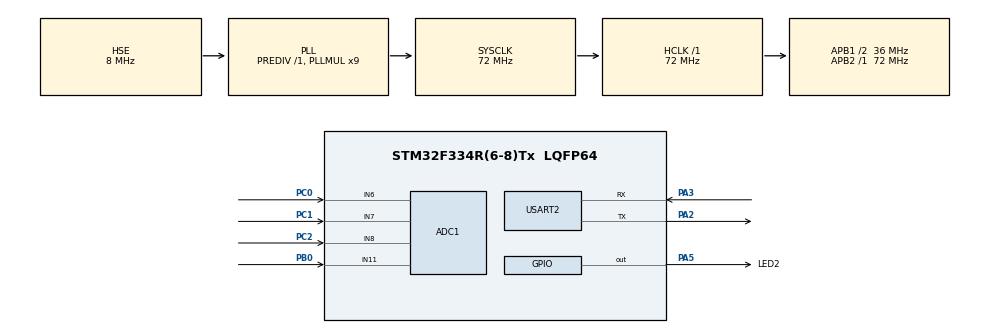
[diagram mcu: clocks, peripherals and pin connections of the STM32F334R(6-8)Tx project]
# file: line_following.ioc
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ADC1.Channel-0\#ChannelRegularConversion=ADC_CHANNEL_6
ADC1.Channel-1\#ChannelRegularConversion=ADC_CHANNEL_7
ADC1.Channel-2\#ChannelRegularConversion=ADC_CHANNEL_8
ADC1.Channel-3\#ChannelRegularConversion=ADC_CHANNEL_11
ADC1.NbrOfConversion=4
ADC1.NbrOfConversionFlag=1
ADC1.Offset-0\#ChannelRegularConversion=0
ADC1.Offset-1\#ChannelRegularConversion=0
ADC1.Offset-2\#ChannelRegularConversion=0
ADC1.Offset-3\#ChannelRegularConversion=0
ADC1.OffsetNumber-0\#ChannelRegularConversion=ADC_OFFSET_NONE
ADC1.OffsetNumber-1\#ChannelRegularConversion=ADC_OFFSET_NONE
ADC1.OffsetNumber-2\#ChannelRegularConversion=ADC_OFFSET_NONE
ADC1.OffsetNumber-3\#ChannelRegularConversion=ADC_OFFSET_NONE
ADC1.Rank-0\#ChannelRegularConversion=1
ADC1.Rank-1\#ChannelRegularConversion=2
ADC1.Rank-2\#ChannelRegularConversion=3
ADC1.Rank-3\#ChannelRegularConversion=4
ADC1.SamplingTime-0\#ChannelRegularConversion=ADC_SAMPLETIME_1CYCLE_5
ADC1.SamplingTime-1\#ChannelRegularConversion=ADC_SAMPLETIME_1CYCLE_5
ADC1.SamplingTime-2\#ChannelRegularConversion=ADC_SAMPLETIME_1CYCLE_5
ADC1.SamplingTime-3\#ChannelRegularConversion=ADC_SAMPLETIME_1CYCLE_5
ADC1.SamplingTimeOPAMP-1\#ChannelRegularConversion=ADC_SAMPLETIME_4CYCLES_5
ADC1.SamplingTimeOPAMP-2\#ChannelRegularConversion=ADC_SAMPLETIME_4CYCLES_5
ADC1.SamplingTimeOPAMP-3\#ChannelRegularConversion=ADC_SAMPLETIME_4CYCLES_5
ADC1.master=1
Dma.ADC1.0.Direction=DMA_PERIPH_TO_MEMORY
Dma.ADC1.0.Instance=DMA1_Channel1
Dma.ADC1.0.MemDataAlignment=DMA_MDATAALIGN_HALFWORD
Dma.ADC1.0.MemInc=DMA_MINC_ENABLE
Dma.ADC1.0.Mode=DMA_NORMAL
Dma.ADC1.0.PeriphDataAlignment=DMA_PDATAALIGN_HALFWORD
Dma.ADC1.0.PeriphInc=DMA_PINC_DISABLE
Dma.ADC1.0.Priority=DMA_PRIORITY_LOW
Dma.Request0=ADC1
Mcu.Family=STM32F3
Mcu.Name=STM32F334R(6-8)Tx
Mcu.Package=LQFP64
NVIC.DMA1_Channel1_IRQn=true\:0\:0\:false\:false\:true\:false\:true
NVIC.PriorityGroup=NVIC_PRIORITYGROUP_4
PA2.Mode=Asynchronous
PA2.Signal=USART2_TX
PA3.Mode=Asynchronous
PA3.Signal=USART2_RX
PA5.GPIO_Label=LED2
PA5.Signal=GPIO_Output
PB0.Mode=IN11-Single-Ended
PB0.Signal=ADC1_IN11
PC0.Signal=ADCx_IN6
PC1.Signal=ADCx_IN7
PC2.Signal=ADCx_IN8
PF0\ /\ OSC_IN.Mode=HSE-External-Oscillator
PF0\ /\ OSC_IN.Signal=RCC_OSC_IN
PF1\ /\ OSC_OUT.Mode=HSE-External-Oscillator
PF1\ /\ OSC_OUT.Signal=RCC_OSC_OUT
ProjectManager.HeapSize=0x200
ProjectManager.StackSize=0x400
ProjectManager.TargetToolchain=STM32CubeIDE
RCC.AHBFreq_Value=72000000
RCC.APB1CLKDivider=RCC_HCLK_DIV2
RCC.APB1Freq_Value=36000000
RCC.APB1TimFreq_Value=72000000
RCC.APB2Freq_Value=72000000
RCC.APB2TimFreq_Value=72000000
RCC.CortexFreq_Value=72000000
RCC.HCLKFreq_Value=72000000
RCC.HSE_VALUE=8000000
RCC.HSI_VALUE=8000000
RCC.LSE_VALUE=32768
RCC.PLLMUL=RCC_PLL_MUL9
RCC.PLLSourceVirtual=RCC_PLLSOURCE_HSE
RCC.SYSCLKFreq_VALUE=72000000
RCC.SYSCLKSourceVirtual=RCC_SYSCLKSOURCE_PLLCLK
SH.ADCx_IN6.0=ADC1_IN6,IN6-Single-Ended
SH.ADCx_IN7.0=ADC1_IN7,IN7-Single-Ended
SH.ADCx_IN8.0=ADC1_IN8,IN8-Single-Ended
USART2.VirtualMode-Asynchronous=VM_ASYNC
board=custom

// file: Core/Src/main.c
/* USER CODE BEGIN Header */
/**
  ******************************************************************************
  * @file           : main.c
  * @brief          : Main program body
  ******************************************************************************
  * @attention
  *
  * Copyright (c) 2022 STMicroelectronics.
  * All rights reserved.
  *
  * This software is licensed under terms that can be found in the LICENSE file
  * in the root directory of this software component.
  * If no LICENSE file comes with this software, it is provided AS-IS.
  *
  ******************************************************************************
  */
/* USER CODE END Header */
#include "main.h"

/* USER CODE BEGIN Includes */
#include <stdio.h>
#include "ktir_sensor.h"

/* USER CODE END Includes */

/* USER CODE BEGIN PD */
#define NUMBER_OF_SENSORS 4
/* USER CODE END PD */

ADC_HandleTypeDef hadc1;
DMA_HandleTypeDef hdma_adc1;

UART_HandleTypeDef huart2;

/* USER CODE BEGIN PV */
volatile uint16_t ktir_results[NUMBER_OF_SENSORS];

const uint16_t KTIR_CRITICAL_VALUES[NUMBER_OF_SENSORS] = 	{
		3000u,
		2500u,
		2500u,
		2750u
};

/* USER CODE END PV */

void SystemClock_Config(void);
static void MX_GPIO_Init(void);
static void MX_DMA_Init(void);
static void MX_ADC1_Init(void);
static void MX_USART2_UART_Init(void);
/* USER CODE BEGIN PFP */
uint8_t is_black(uint16_t value, uint16_t critical_value);
void show_for_calibration();
/* USER CODE END PFP */

/* USER CODE BEGIN 0 */
int __io_putchar(int ch)
{
  if (ch == '\n') {
    __io_putchar('\r');
  }

  HAL_UART_Transmit(&huart2, (uint8_t*)&ch, 1, HAL_MAX_DELAY);

  return 1;
}
/* USER CODE END 0 */

int main(void)
{

  /* MCU Configuration--------------------------------------------------------*/

  /* Reset of all peripherals, Initializes the Flash interface and the Systick. */
  HAL_Init();

  /* Configure the system clock */
  SystemClock_Config();

  /* Initialize all configured peripherals */
  MX_GPIO_Init();
  MX_DMA_Init();
  MX_ADC1_Init();
  MX_USART2_UART_Init();
  /* USER CODE BEGIN 2 */
  KTIR_Init(&hadc1, ktir_results);
  /* USER CODE END 2 */

  /* Infinite loop */
  while (1)
  {

    /* USER CODE BEGIN 3 */
	  KTIR_read();
	  show_for_calibration();
	  HAL_Delay(500);
	  /*
	  if(is_black(ktir_results[2], KTIR_CRITICAL_VALUES[2]) && is_black(ktir_result[1], KTIR_CRITICAL_VALUES[1])){
		  if(is_black(ktir_results[0], KTIR_CRITICAL_VALUES[0]) && is_black(ktir_results[3], KTIR_CRITICAL_VALUES[3])){
			  // TO ZNACZY ŻE MAMY DO CZYNIENIA ZE SKRZYŻOWANIEM
			  // dodaj +1 do ilości skrzyżowań
			  // jeśli jest to ostatnie skrzyżowanie to skręć 90 i zapamiętaj to
		  }
		  else if (is_black(ktir_results[0], KTIR_CRITICAL_VALUES[0])){
			  // TODO Czy to wgl się zdarza?
		  }
		  else {
			  // JEDŹ PROSTO (ew. uwzględnij że ostatnio lekko skręcaliśmy w lewo to lekko odbij w prawo)
		  }
	  }
	  else if(is_black(ktir_results[2], KTIR_CRITICAL_VALUES[2]) && !is_black(ktir_result[1], KTIR_CRITICAL_VALUES[1])){
		  // za bardzo w lewo, skręć lekko w prawo
	  }
	  else if(!is_black(ktir_results[2], KTIR_CRITICAL_VALUES[2]) && is_black(ktir_result[1], KTIR_CRITICAL_VALUES[1])){
		  // za bardzo w prawo, skręć lekko w lewo
	  }
	  */

  }
  /* USER CODE END 3 */
}

void SystemClock_Config(void)
{
  RCC_OscInitTypeDef RCC_OscInitStruct = {0};
  RCC_ClkInitTypeDef RCC_ClkInitStruct = {0};
  RCC_PeriphCLKInitTypeDef PeriphClkInit = {0};

  /** Initializes the RCC Oscillators according to the specified parameters
  * in the RCC_OscInitTypeDef structure.
  */
  RCC_OscInitStruct.OscillatorType = RCC_OSCILLATORTYPE_HSE;
  RCC_OscInitStruct.HSEState = RCC_HSE_ON;
  RCC_OscInitStruct.HSEPredivValue = RCC_HSE_PREDIV_DIV1;
  RCC_OscInitStruct.HSIState = RCC_HSI_ON;
  RCC_OscInitStruct.PLL.PLLState = RCC_PLL_ON;
  RCC_OscInitStruct.PLL.PLLSource = RCC_PLLSOURCE_HSE;
  RCC_OscInitStruct.PLL.PLLMUL = RCC_PLL_MUL9;
  if (HAL_RCC_OscConfig(&RCC_OscInitStruct) != HAL_OK)
  {
    Error_Handler();
  }
  /** Initializes the CPU, AHB and APB buses clocks
  */
  RCC_ClkInitStruct.ClockType = RCC_CLOCKTYPE_HCLK|RCC_CLOCKTYPE_SYSCLK
                              |RCC_CLOCKTYPE_PCLK1|RCC_CLOCKTYPE_PCLK2;
  RCC_ClkInitStruct.SYSCLKSource = RCC_SYSCLKSOURCE_PLLCLK;
  RCC_ClkInitStruct.AHBCLKDivider = RCC_SYSCLK_DIV1;
  RCC_ClkInitStruct.APB1CLKDivider = RCC_HCLK_DIV2;
  RCC_ClkInitStruct.APB2CLKDivider = RCC_HCLK_DIV1;

  if (HAL_RCC_ClockConfig(&RCC_ClkInitStruct, FLASH_LATENCY_2) != HAL_OK)
  {
    Error_Handler();
  }
  PeriphClkInit.PeriphClockSelection = RCC_PERIPHCLK_ADC12;
  PeriphClkInit.Adc12ClockSelection = RCC_ADC12PLLCLK_DIV1;
  if (HAL_RCCEx_PeriphCLKConfig(&PeriphClkInit) != HAL_OK)
  {
    Error_Handler();
  }
}

static void MX_ADC1_Init(void)
{

  ADC_MultiModeTypeDef multimode = {0};
  ADC_ChannelConfTypeDef sConfig = {0};

  /** Common config
  */
  hadc1.Instance = ADC1;
  hadc1.Init.ClockPrescaler = ADC_CLOCK_ASYNC_DIV1;
  hadc1.Init.Resolution = ADC_RESOLUTION_12B;
  hadc1.Init.ScanConvMode = ADC_SCAN_ENABLE;
  hadc1.Init.ContinuousConvMode = DISABLE;
  hadc1.Init.DiscontinuousConvMode = DISABLE;
  hadc1.Init.ExternalTrigConvEdge = ADC_EXTERNALTRIGCONVEDGE_NONE;
  hadc1.Init.ExternalTrigConv = ADC_SOFTWARE_START;
  hadc1.Init.DataAlign = ADC_DATAALIGN_RIGHT;
  hadc1.Init.NbrOfConversion = 4;
  hadc1.Init.DMAContinuousRequests = DISABLE;
  hadc1.Init.EOCSelection = ADC_EOC_SINGLE_CONV;
  hadc1.Init.LowPowerAutoWait = DISABLE;
  hadc1.Init.Overrun = ADC_OVR_DATA_OVERWRITTEN;
  if (HAL_ADC_Init(&hadc1) != HAL_OK)
  {
    Error_Handler();
  }
  /** Configure the ADC multi-mode
  */
  multimode.Mode = ADC_MODE_INDEPENDENT;
  if (HAL_ADCEx_MultiModeConfigChannel(&hadc1, &multimode) != HAL_OK)
  {
    Error_Handler();
  }
  /** Configure Regular Channel
  */
  sConfig.Channel = ADC_CHANNEL_6;
  sConfig.Rank = ADC_REGULAR_RANK_1;
  sConfig.SingleDiff = ADC_SINGLE_ENDED;
  sConfig.SamplingTime = ADC_SAMPLETIME_1CYCLE_5;
  sConfig.OffsetNumber = ADC_OFFSET_NONE;
  sConfig.Offset = 0;
  if (HAL_ADC_ConfigChannel(&hadc1, &sConfig) != HAL_OK)
  {
    Error_Handler();
  }
  /** Configure Regular Channel
  */
  sConfig.Channel = ADC_CHANNEL_7;
  sConfig.Rank = ADC_REGULAR_RANK_2;
  if (HAL_ADC_ConfigChannel(&hadc1, &sConfig) != HAL_OK)
  {
    Error_Handler();
  }
  /** Configure Regular Channel
  */
  sConfig.Channel = ADC_CHANNEL_8;
  sConfig.Rank = ADC_REGULAR_RANK_3;
  if (HAL_ADC_ConfigChannel(&hadc1, &sConfig) != HAL_OK)
  {
    Error_Handler();
  }
  /** Configure Regular Channel
  */
  sConfig.Channel = ADC_CHANNEL_11;
  sConfig.Rank = ADC_REGULAR_RANK_4;
  if (HAL_ADC_ConfigChannel(&hadc1, &sConfig) != HAL_OK)
  {
    Error_Handler();
  }

}

static void MX_USART2_UART_Init(void)
{

  huart2.Instance = USART2;
  huart2.Init.BaudRate = 38400;
  huart2.Init.WordLength = UART_WORDLENGTH_8B;
  huart2.Init.StopBits = UART_STOPBITS_1;
  huart2.Init.Parity = UART_PARITY_NONE;
  huart2.Init.Mode = UART_MODE_TX_RX;
  huart2.Init.HwFlowCtl = UART_HWCONTROL_NONE;
  huart2.Init.OverSampling = UART_OVERSAMPLING_16;
  huart2.Init.OneBitSampling = UART_ONE_BIT_SAMPLE_DISABLE;
  huart2.AdvancedInit.AdvFeatureInit = UART_ADVFEATURE_NO_INIT;
  if (HAL_UART_Init(&huart2) != HAL_OK)
  {
    Error_Handler();
  }

}

static void MX_DMA_Init(void)
{

  /* DMA controller clock enable */
  __HAL_RCC_DMA1_CLK_ENABLE();

  /* DMA interrupt init */
  /* DMA1_Channel1_IRQn interrupt configuration */
  HAL_NVIC_SetPriority(DMA1_Channel1_IRQn, 0, 0);
  HAL_NVIC_EnableIRQ(DMA1_Channel1_IRQn);

}

static void MX_GPIO_Init(void)
{
  GPIO_InitTypeDef GPIO_InitStruct = {0};

  /* GPIO Ports Clock Enable */
  __HAL_RCC_GPIOF_CLK_ENABLE();
  __HAL_RCC_GPIOC_CLK_ENABLE();
  __HAL_RCC_GPIOA_CLK_ENABLE();
  __HAL_RCC_GPIOB_CLK_ENABLE();

  /*Configure GPIO pin Output Level */
  HAL_GPIO_WritePin(LED2_GPIO_Port, LED2_Pin, GPIO_PIN_RESET);

  /*Configure GPIO pin : LED2_Pin */
  GPIO_InitStruct.Pin = LED2_Pin;
  GPIO_InitStruct.Mode = GPIO_MODE_OUTPUT_PP;
  GPIO_InitStruct.Pull = GPIO_NOPULL;
  GPIO_InitStruct.Speed = GPIO_SPEED_FREQ_LOW;
  HAL_GPIO_Init(LED2_GPIO_Port, &GPIO_InitStruct);

}

/* USER CODE BEGIN 4 */
uint8_t is_black(uint16_t value, uint16_t critical_value){
	return value > critical_value ? 1:0;
}

void show_for_calibration(){
	/**
   * Poniżej fragment do kalibracji krytycznych wartości
   */
	printf("Sensor[0]: %d\tSensor[1]: %d\tSensor[2]: %d\tSensor[3]: %d\n", ktir_results[0], ktir_results[1], ktir_results[2], ktir_results[3]);

  	printf("------\nCzarne[0]: %d\tCzarne[1]: %d\tCzarne[2]: %d\tCzarne[3]: %d\n",
	is_black(ktir_results[0], KTIR_CRITICAL_VALUES[0]), is_black(ktir_results[1], KTIR_CRITICAL_VALUES[1]),
	is_black(ktir_results[2], KTIR_CRITICAL_VALUES[2]), is_black(ktir_results[3], KTIR_CRITICAL_VALUES[0]));
}
/* USER CODE END 4 */

void Error_Handler(void)
{
  __disable_irq();
  while (1)
  {
  }
}
